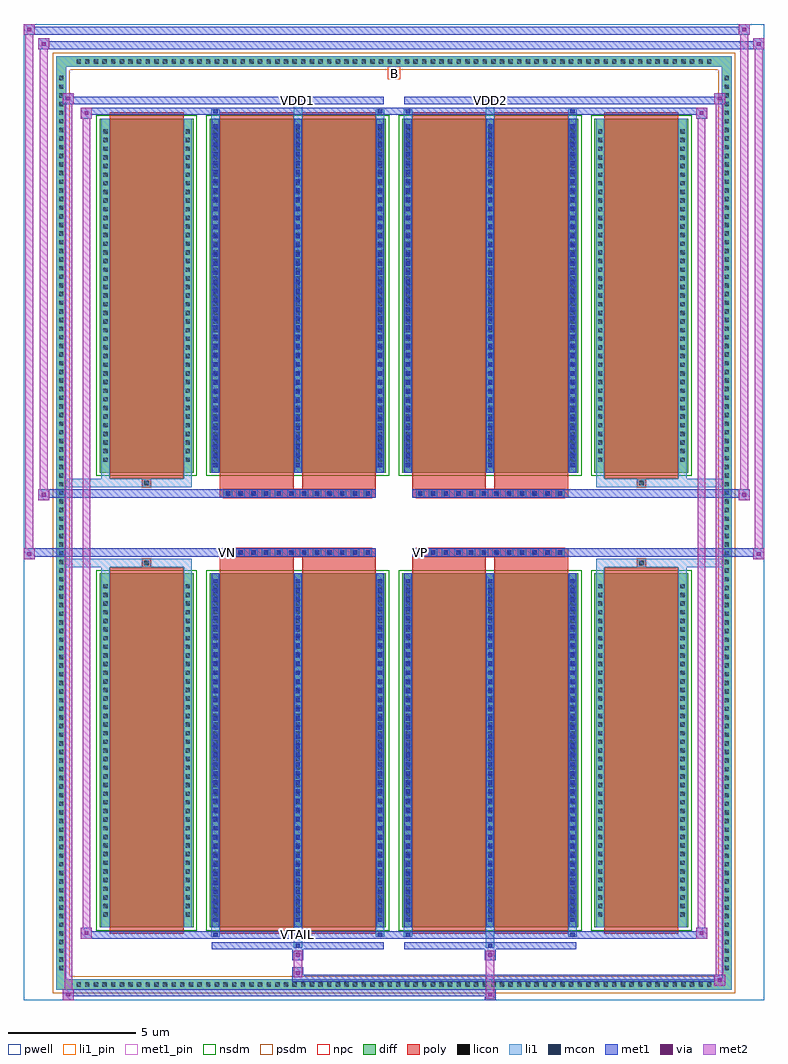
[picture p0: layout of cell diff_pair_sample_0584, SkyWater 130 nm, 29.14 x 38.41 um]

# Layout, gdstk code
import gdstk
lib = gdstk.Library(unit=1e-6, precision=5e-09)
def R(c, l, rs):  # rectangles x0, y0, x1, y1
    for r in rs: c.add(gdstk.rectangle(r[:2], r[2:], *l))
def A(c, l, x, y, w, h, nx, ny, dx, dy):  # array of equal rectangles
    R(c, l, [(x+i*dx, y+j*dy, x+i*dx+w, y+j*dy+h) for i in range(nx) for j in range(ny)])
def P(c, l, *ps):  # polygons
    for p in ps: c.add(gdstk.Polygon(p, *l))
pwell = (64, 44)
diff = (65, 20)
poly = (66, 20)
licon = (66, 44)
li1_pin = (67, 16)
li1 = (67, 20)
mcon = (67, 44)
met1_pin = (68, 16)
met1 = (68, 20)
via = (68, 44)
met2 = (69, 20)
nsdm = (93, 44)
psdm = (94, 20)
npc = (95, 20)

diff_pair_sample_0584 = lib.new_cell('diff_pair_sample_0584')
R(diff_pair_sample_0584, pwell, [(-14.57,-18.77,14.57,19.64), (-11.89,-16.96,-0.01,-0.8), (0.01,-16.96,11.89,-0.8), (-11.89,0.8,-0.01,16.96), (0.01,0.8,11.89,16.96)])
A(diff_pair_sample_0584, diff, -12.615, -18.37, 0.41, 0.41, 74, 2, 0.34, 36.33)
A(diff_pair_sample_0584, diff, -13.3, -17.715, 0.41, 0.41, 1, 104, 0, 0.34)
A(diff_pair_sample_0584, diff, 12.89, -17.715, 0.41, 0.41, 1, 104, 0, 0.34)
R(diff_pair_sample_0584, diff, [(-12.615,-18.37,12.615,-17.96), (-13.3,-17.715,-12.89,17.715), (12.89,-17.715,13.3,17.715), (-11.58,-15.915,-7.89,-1.985), (-7.25,-15.915,-0.32,-1.985), (0.32,-15.915,7.25,-1.985), (7.89,-15.915,11.58,-1.985), (-11.58,1.985,-7.89,15.915), (-7.25,1.985,-0.32,15.915), (0.32,1.985,7.25,15.915), (7.89,1.985,11.58,15.915), (-12.615,17.96,12.615,18.37)])
P(diff_pair_sample_0584, diff, [(13.3,18.37),(-13.3,18.37),(-13.3,-17.96),(-12.89,-17.96),(-12.89,17.96),(12.89,17.96),(12.89,-17.96),(-12.89,-17.96),(-13.3,-17.96),(-13.3,-18.37),(13.3,-18.37)])
A(diff_pair_sample_0584, poly, -6.7, -1.33, 0.33, 0.33, 12, 2, 0.5, 2.33)
A(diff_pair_sample_0584, poly, 0.87, -1.33, 0.33, 0.33, 12, 2, 0.5, 2.33)
R(diff_pair_sample_0584, poly, [(-11.19,-16.165,-8.28,-1.735), (-6.86,-16.165,-3.95,-1.735), (-3.62,-16.165,-0.71,-1.735), (0.71,-16.165,3.62,-1.735), (3.95,-16.165,6.86,-1.735), (8.28,-16.165,11.19,-1.735), (-9.9,-1.735,-9.57,-1.405), (-9.9,-1.735,-9.57,-1.405), (-6.86,-1.735,-3.95,-1.33), (-3.62,-1.735,-0.71,-1.33), (0.71,-1.735,3.62,-1.33), (3.95,-1.735,6.86,-1.33), (9.57,-1.735,9.9,-1.405), (9.57,-1.735,9.9,-1.405), (-6.86,-1.33,-0.71,-1), (0.71,-1.33,6.86,-1), (-6.86,1,-0.71,1.33), (0.71,1,6.86,1.33), (-6.86,1.33,-3.95,1.735), (-3.62,1.33,-0.71,1.735), (0.71,1.33,3.62,1.735), (3.95,1.33,6.86,1.735), (-9.9,1.405,-9.57,1.735), (-9.9,1.405,-9.57,1.735), (9.57,1.405,9.9,1.735), (9.57,1.405,9.9,1.735), (-11.19,1.735,-8.28,16.165), (-6.86,1.735,-3.95,16.165), (-3.62,1.735,-0.71,16.165), (0.71,1.735,3.62,16.165), (3.95,1.735,6.86,16.165), (8.28,1.735,11.19,16.165)])
A(diff_pair_sample_0584, licon, -12.495, -18.25, 0.17, 0.17, 74, 2, 0.34, 36.33)
A(diff_pair_sample_0584, licon, -13.18, -17.595, 0.17, 0.17, 1, 104, 0, 0.34)
A(diff_pair_sample_0584, licon, 13.01, -17.595, 0.17, 0.17, 1, 104, 0, 0.34)
A(diff_pair_sample_0584, licon, -11.44, -15.495, 0.17, 0.17, 1, 39, 0, 0.34)
A(diff_pair_sample_0584, licon, -8.2, -15.495, 0.17, 0.17, 1, 39, 0, 0.34)
A(diff_pair_sample_0584, licon, -7.11, -15.495, 0.17, 0.17, 3, 39, 3.24, 0.34)
A(diff_pair_sample_0584, licon, 0.46, -15.495, 0.17, 0.17, 3, 39, 3.24, 0.34)
A(diff_pair_sample_0584, licon, 8.03, -15.495, 0.17, 0.17, 1, 39, 0, 0.34)
A(diff_pair_sample_0584, licon, 11.27, -15.495, 0.17, 0.17, 1, 39, 0, 0.34)
A(diff_pair_sample_0584, licon, -6.62, -1.25, 0.17, 0.17, 12, 2, 0.5, 2.33)
A(diff_pair_sample_0584, licon, 0.95, -1.25, 0.17, 0.17, 12, 2, 0.5, 2.33)
A(diff_pair_sample_0584, licon, -11.44, 2.405, 0.17, 0.17, 1, 39, 0, 0.34)
A(diff_pair_sample_0584, licon, -8.2, 2.405, 0.17, 0.17, 1, 39, 0, 0.34)
A(diff_pair_sample_0584, licon, -7.11, 2.405, 0.17, 0.17, 3, 39, 3.24, 0.34)
A(diff_pair_sample_0584, licon, 0.46, 2.405, 0.17, 0.17, 3, 39, 3.24, 0.34)
A(diff_pair_sample_0584, licon, 8.03, 2.405, 0.17, 0.17, 1, 39, 0, 0.34)
A(diff_pair_sample_0584, licon, 11.27, 2.405, 0.17, 0.17, 1, 39, 0, 0.34)
R(diff_pair_sample_0584, licon, [(-9.82,-1.655,-9.65,-1.485), (9.65,-1.655,9.82,-1.485), (-9.82,1.485,-9.65,1.655), (9.65,1.485,9.82,1.655)])
R(diff_pair_sample_0584, li1_pin, [(-0.25,17.46,0.25,17.96)])
A(diff_pair_sample_0584, li1, -12.575, -18.33, 0.33, 0.33, 74, 2, 0.34, 36.33)
A(diff_pair_sample_0584, li1, -13.26, -17.675, 0.33, 0.33, 1, 104, 0, 0.34)
A(diff_pair_sample_0584, li1, 12.93, -17.675, 0.33, 0.33, 1, 104, 0, 0.34)
A(diff_pair_sample_0584, li1, -7.19, -15.915, 0.33, 13.93, 3, 2, 3.24, 17.9)
A(diff_pair_sample_0584, li1, 0.38, -15.915, 0.33, 13.93, 3, 2, 3.24, 17.9)
A(diff_pair_sample_0584, li1, -7.11, -15.695, 0.17, 0.17, 3, 38, 3.24, 0.36)
A(diff_pair_sample_0584, li1, -7.11, -15.695, 0.17, 13.49, 3, 2, 3.24, 17.9)
A(diff_pair_sample_0584, li1, 0.46, -15.695, 0.17, 0.17, 3, 38, 3.24, 0.36)
A(diff_pair_sample_0584, li1, 0.46, -15.695, 0.17, 13.49, 3, 2, 3.24, 17.9)
A(diff_pair_sample_0584, li1, -11.52, -15.575, 0.33, 0.33, 1, 39, 0, 0.34)
A(diff_pair_sample_0584, li1, -8.28, -15.575, 0.33, 0.33, 1, 39, 0, 0.34)
A(diff_pair_sample_0584, li1, -7.19, -15.575, 0.33, 0.33, 3, 39, 3.24, 0.34)
A(diff_pair_sample_0584, li1, 0.38, -15.575, 0.33, 0.33, 3, 39, 3.24, 0.34)
A(diff_pair_sample_0584, li1, 7.95, -15.575, 0.33, 0.33, 1, 39, 0, 0.34)
A(diff_pair_sample_0584, li1, 11.19, -15.575, 0.33, 0.33, 1, 39, 0, 0.34)
A(diff_pair_sample_0584, li1, -6.7, -1.33, 0.33, 0.33, 12, 2, 0.5, 2.33)
A(diff_pair_sample_0584, li1, 0.87, -1.33, 0.33, 0.33, 12, 2, 0.5, 2.33)
A(diff_pair_sample_0584, li1, -7.11, 2.205, 0.17, 0.17, 3, 38, 3.24, 0.36)
A(diff_pair_sample_0584, li1, 0.46, 2.205, 0.17, 0.17, 3, 38, 3.24, 0.36)
A(diff_pair_sample_0584, li1, -11.52, 2.325, 0.33, 0.33, 1, 39, 0, 0.34)
A(diff_pair_sample_0584, li1, -8.28, 2.325, 0.33, 0.33, 1, 39, 0, 0.34)
A(diff_pair_sample_0584, li1, -7.19, 2.325, 0.33, 0.33, 3, 39, 3.24, 0.34)
A(diff_pair_sample_0584, li1, 0.38, 2.325, 0.33, 0.33, 3, 39, 3.24, 0.34)
A(diff_pair_sample_0584, li1, 7.95, 2.325, 0.33, 0.33, 1, 39, 0, 0.34)
A(diff_pair_sample_0584, li1, 11.19, 2.325, 0.33, 0.33, 1, 39, 0, 0.34)
R(diff_pair_sample_0584, li1, [(-13.3,-18.37,-12.89,-17.96), (-13.3,-18.37,-12.89,-17.96), (-12.89,-18.37,12.89,-17.96), (12.89,-18.37,13.3,-17.96), (12.89,-18.37,13.3,-17.96), (-13.3,-17.96,-12.89,17.96), (12.89,-17.96,13.3,17.96), (-3.95,-16.72,-3.62,-15.915), (-3.87,-16.72,-3.7,-16.55), (3.62,-16.72,3.95,-15.915), (3.7,-16.72,3.87,-16.55), (-7.19,-16.29,-6.86,-15.915), (-7.11,-16.29,-6.94,-16.12), (-0.71,-16.29,-0.38,-15.915), (-0.63,-16.29,-0.46,-16.12), (0.38,-16.29,0.71,-15.915), (0.46,-16.29,0.63,-16.12), (6.86,-16.29,7.19,-15.915), (6.94,-16.29,7.11,-16.12), (-11.52,-15.915,-11.19,-1.985), (-8.28,-15.915,-7.95,-1.985), (7.95,-15.915,8.28,-1.985), (11.19,-15.915,11.52,-1.985), (-11.52,-1.985,-11.19,-1.405), (-8.28,-1.985,-7.95,-1.405), (7.95,-1.985,8.28,-1.405), (11.19,-1.985,11.52,-1.405), (-13.3,-1.735,-9.9,-1.405), (-11.52,-1.735,-9.9,-1.405), (-9.9,-1.735,-9.57,-1.405), (-9.57,-1.735,-7.95,-1.405), (7.95,-1.735,9.57,-1.405), (9.57,-1.735,9.9,-1.405), (9.57,-1.735,13.3,-1.405), (9.9,-1.735,11.52,-1.405), (-13.3,1.405,-9.9,1.735), (-11.52,1.405,-9.9,1.735), (-11.52,1.405,-11.19,1.985), (-9.9,1.405,-9.57,1.735), (-9.57,1.405,-7.95,1.735), (-8.28,1.405,-7.95,1.985), (7.95,1.405,9.57,1.735), (7.95,1.405,8.28,1.985), (9.57,1.405,9.9,1.735), (9.57,1.405,13.3,1.735), (9.9,1.405,11.52,1.735), (11.19,1.405,11.52,1.985), (-11.52,1.985,-11.19,15.915), (-8.28,1.985,-7.95,15.915), (7.95,1.985,8.28,15.915), (11.19,1.985,11.52,15.915), (-7.19,15.915,-6.86,16.29), (-3.95,15.915,-3.62,16.72), (-0.71,15.915,-0.38,16.29), (0.38,15.915,0.71,16.29), (3.62,15.915,3.95,16.72), (6.86,15.915,7.19,16.29), (-7.11,16.12,-6.94,16.29), (-0.63,16.12,-0.46,16.29), (0.46,16.12,0.63,16.29), (6.94,16.12,7.11,16.29), (-3.87,16.55,-3.7,16.72), (3.7,16.55,3.87,16.72), (-13.3,17.96,-12.89,18.37), (-13.3,17.96,-12.89,18.37), (-12.89,17.96,12.89,18.37), (12.89,17.96,13.3,18.37), (12.89,17.96,13.3,18.37)])
A(diff_pair_sample_0584, mcon, -7.11, -15.695, 0.17, 0.17, 3, 38, 3.24, 0.36)
A(diff_pair_sample_0584, mcon, 0.46, -15.695, 0.17, 0.17, 3, 38, 3.24, 0.36)
A(diff_pair_sample_0584, mcon, -6.62, -1.25, 0.17, 0.17, 12, 2, 0.5, 2.33)
A(diff_pair_sample_0584, mcon, 0.95, -1.25, 0.17, 0.17, 12, 2, 0.5, 2.33)
A(diff_pair_sample_0584, mcon, -7.11, 2.205, 0.17, 0.17, 3, 38, 3.24, 0.36)
A(diff_pair_sample_0584, mcon, 0.46, 2.205, 0.17, 0.17, 3, 38, 3.24, 0.36)
R(diff_pair_sample_0584, mcon, [(-3.87,-16.72,-3.7,-16.55), (3.7,-16.72,3.87,-16.55), (-7.11,-16.29,-6.94,-16.12), (-0.63,-16.29,-0.46,-16.12), (0.46,-16.29,0.63,-16.12), (6.94,-16.29,7.11,-16.12), (-7.11,16.12,-6.94,16.29), (-0.63,16.12,-0.46,16.29), (0.46,16.12,0.63,16.29), (6.94,16.12,7.11,16.29), (-3.87,16.55,-3.7,16.72), (3.7,16.55,3.87,16.72)])
R(diff_pair_sample_0584, met1_pin, [(-3.92,-16.33,-3.65,-16.06), (-6.67,-1.29,-6.4,-1.02), (0.9,-1.29,1.17,-1.02), (-3.92,16.51,-3.65,16.78), (3.65,16.51,3.92,16.78)])
A(diff_pair_sample_0584, met1, -7.17, -15.915, 0.29, 13.93, 3, 2, 3.24, 17.9)
A(diff_pair_sample_0584, met1, 0.4, -15.915, 0.29, 13.93, 3, 2, 3.24, 17.9)
A(diff_pair_sample_0584, met1, -7.17, -15.755, 0.29, 0.29, 3, 38, 3.24, 0.36)
A(diff_pair_sample_0584, met1, 0.4, -15.755, 0.29, 0.29, 3, 38, 3.24, 0.36)
A(diff_pair_sample_0584, met1, -6.68, -1.31, 0.29, 0.29, 12, 2, 0.5, 2.33)
A(diff_pair_sample_0584, met1, 0.89, -1.31, 0.29, 0.29, 12, 2, 0.5, 2.33)
A(diff_pair_sample_0584, met1, -7.17, 2.145, 0.29, 0.29, 3, 38, 3.24, 0.36)
A(diff_pair_sample_0584, met1, 0.4, 2.145, 0.29, 0.29, 3, 38, 3.24, 0.36)
R(diff_pair_sample_0584, met1, [(-13.03,-18.77,-12.6,-18.34), (3.57,-18.77,4,-18.34), (-13.03,-18.63,4,-18.34), (12.6,-18.2,13.03,-17.77), (-4,-18.06,13.03,-17.77), (-4,-17.92,-3.57,-17.49), (-4,-17.21,-3.57,-16.78), (3.57,-17.21,4,-16.78), (-7.17,-16.78,-0.4,-16.49), (-3.93,-16.78,-3.64,-16.49), (0.4,-16.78,7.17,-16.49), (3.64,-16.78,3.93,-16.49), (-12.32,-16.35,-11.89,-15.92), (-12.32,-16.35,-7.17,-16.06), (-7.17,-16.35,-6.88,-16.06), (-7.17,-16.35,-0.4,-16.06), (-0.69,-16.35,-0.4,-16.06), (-0.4,-16.35,0.4,-16.06), (0.4,-16.35,0.69,-16.06), (0.4,-16.35,7.17,-16.06), (6.88,-16.35,7.17,-16.06), (7.17,-16.35,12.32,-16.06), (11.89,-16.35,12.32,-15.92), (-14.57,-1.43,-14.14,-1), (14.14,-1.43,14.57,-1), (-14.57,-1.33,-0.71,-1), (-6.86,-1.33,-0.71,-1), (0.71,-1.33,6.86,-1), (0.71,-1.33,14.57,-1), (-14,0.9,-13.57,1.33), (13.57,0.9,14,1.33), (-14,1,-6.86,1.33), (-6.86,1,-0.71,1.33), (0.71,1,6.86,1.33), (6.86,1,14,1.33), (-12.32,15.92,-11.89,16.35), (11.89,15.92,12.32,16.35), (-12.32,16.06,-7.17,16.35), (-7.17,16.06,-6.88,16.35), (-7.17,16.06,-0.4,16.35), (-0.69,16.06,-0.4,16.35), (-0.4,16.06,0.4,16.35), (0.4,16.06,0.69,16.35), (0.4,16.06,7.17,16.35), (6.88,16.06,7.17,16.35), (7.17,16.06,12.32,16.35), (-13.03,16.49,-12.6,16.92), (-13.03,16.49,-7.17,16.78), (-7.17,16.49,-0.4,16.78), (-3.93,16.49,-3.64,16.78), (0.4,16.49,7.17,16.78), (3.64,16.49,3.93,16.78), (7.17,16.49,13.03,16.78), (12.6,16.49,13.03,16.92), (-14,18.64,-13.57,19.07), (-14,18.64,-11.89,18.97), (-11.89,18.64,11.89,18.97), (11.89,18.64,14.57,18.97), (14.14,18.64,14.57,19.07), (-14.57,19.21,-14.14,19.64), (-14.57,19.21,-11.89,19.54), (-11.89,19.21,11.89,19.54), (11.89,19.21,14,19.54), (13.57,19.21,14,19.64)])
R(diff_pair_sample_0584, via, [(-12.89,-18.63,-12.74,-18.48), (3.71,-18.63,3.86,-18.48), (12.74,-18.06,12.89,-17.91), (-3.86,-17.78,-3.71,-17.63), (-3.86,-17.07,-3.71,-16.92), (3.71,-17.07,3.86,-16.92), (-12.18,-16.21,-12.03,-16.06), (12.03,-16.21,12.18,-16.06), (-14.43,-1.29,-14.28,-1.14), (14.28,-1.29,14.43,-1.14), (-13.86,1.04,-13.71,1.19), (13.71,1.04,13.86,1.19), (-12.18,16.06,-12.03,16.21), (12.03,16.06,12.18,16.21), (-12.89,16.63,-12.74,16.78), (12.74,16.63,12.89,16.78), (-13.86,18.78,-13.71,18.93), (14.28,18.78,14.43,18.93), (-14.43,19.35,-14.28,19.5), (13.71,19.35,13.86,19.5)])
R(diff_pair_sample_0584, met2, [(-13.03,-18.77,-12.6,-18.34), (-12.96,-18.77,-12.67,16.92), (-12.67,-18.77,-12.6,-18.34), (-12.98,-18.72,-12.65,-18.39), (3.62,-18.72,3.95,-18.39), (3.62,-18.39,3.95,-17.16), (12.6,-18.2,13.03,-17.77), (12.67,-18.2,12.96,16.92), (12.96,-18.2,13.03,-17.77), (12.65,-18.15,12.98,-17.82), (-3.95,-17.87,-3.62,-17.54), (-3.95,-17.54,-3.62,-17.16), (-3.95,-17.16,-3.62,-16.83), (3.62,-17.16,3.95,-16.83), (-12.32,-16.35,-11.89,-15.92), (-12.25,-16.35,-11.96,16.35), (-11.96,-16.35,-11.89,-15.92), (11.89,-16.35,12.32,-15.92), (11.96,-16.35,12.25,16.35), (12.25,-16.35,12.32,-15.92), (-12.27,-16.3,-11.94,-15.97), (11.94,-16.3,12.27,-15.97), (-14.57,-1.43,-14.14,-1), (-14.52,-1.43,-14.19,19.64), (-14.19,-1.43,-14.14,-1), (14.14,-1.43,14.57,-1), (14.19,-1.43,14.52,19.07), (14.52,-1.43,14.57,-1), (-14.52,-1.38,-14.19,-1.05), (14.19,-1.38,14.52,-1.05), (-14,0.9,-13.57,1.33), (-13.95,0.9,-13.62,19.07), (-13.62,0.9,-13.57,1.33), (13.57,0.9,14,1.33), (13.62,0.9,13.95,19.64), (13.95,0.9,14,1.33), (-13.95,0.95,-13.62,1.28), (13.62,0.95,13.95,1.28), (-12.32,15.92,-11.89,16.35), (-11.96,15.92,-11.89,16.35), (11.89,15.92,12.32,16.35), (12.25,15.92,12.32,16.35), (-12.27,15.97,-11.94,16.3), (11.94,15.97,12.27,16.3), (-13.03,16.49,-12.6,16.92), (-12.67,16.49,-12.6,16.92), (12.6,16.49,13.03,16.92), (12.96,16.49,13.03,16.92), (-12.98,16.54,-12.65,16.87), (12.65,16.54,12.98,16.87), (-14,18.64,-13.57,19.07), (-13.62,18.64,-13.57,19.07), (14.14,18.64,14.57,19.07), (14.52,18.64,14.57,19.07), (-13.95,18.69,-13.62,19.02), (14.19,18.69,14.52,19.02), (-14.57,19.21,-14.14,19.64), (-14.19,19.21,-14.14,19.64), (13.57,19.21,14,19.64), (13.95,19.21,14,19.64), (-14.52,19.26,-14.19,19.59), (13.62,19.26,13.95,19.59)])
R(diff_pair_sample_0584, nsdm, [(-11.71,-16.045,-7.76,-1.855), (-7.38,-16.045,-0.19,-1.855), (0.19,-16.045,7.38,-1.855), (7.76,-16.045,11.71,-1.855), (-11.71,1.855,-7.76,16.045), (-7.38,1.855,-0.19,16.045), (0.19,1.855,7.38,16.045), (7.76,1.855,11.71,16.045)])
P(diff_pair_sample_0584, psdm, [(13.43,18.5),(-13.43,18.5),(-13.43,-17.83),(-12.76,-17.83),(-12.76,17.83),(12.76,17.83),(12.76,-17.83),(-12.76,-17.83),(-13.43,-17.83),(-13.43,-18.5),(13.43,-18.5)])
A(diff_pair_sample_0584, npc, -6.72, -1.35, 0.37, 0.37, 12, 2, 0.5, 2.33)
A(diff_pair_sample_0584, npc, 0.85, -1.35, 0.37, 0.37, 12, 2, 0.5, 2.33)
R(diff_pair_sample_0584, npc, [(-9.92,-1.755,-9.55,-1.385), (9.55,-1.755,9.92,-1.385), (-6.72,-1.35,-5.85,-0.98), (-6.72,-1.35,-5.85,-0.98), (-6.22,-1.35,-5.35,-0.98), (-6.22,-1.35,-5.35,-0.98), (-5.72,-1.35,-4.85,-0.98), (-5.72,-1.35,-4.85,-0.98), (-5.22,-1.35,-4.35,-0.98), (-5.22,-1.35,-4.35,-0.98), (-4.72,-1.35,-3.85,-0.98), (-4.72,-1.35,-3.85,-0.98), (-4.22,-1.35,-3.35,-0.98), (-4.22,-1.35,-3.35,-0.98), (-3.72,-1.35,-2.85,-0.98), (-3.72,-1.35,-2.85,-0.98), (-3.22,-1.35,-2.35,-0.98), (-3.22,-1.35,-2.35,-0.98), (-2.72,-1.35,-1.85,-0.98), (-2.72,-1.35,-1.85,-0.98), (-2.22,-1.35,-1.35,-0.98), (-2.22,-1.35,-1.35,-0.98), (-1.72,-1.35,-0.85,-0.98), (-1.72,-1.35,-0.85,-0.98), (0.85,-1.35,1.72,-0.98), (0.85,-1.35,1.72,-0.98), (1.35,-1.35,2.22,-0.98), (1.35,-1.35,2.22,-0.98), (1.85,-1.35,2.72,-0.98), (1.85,-1.35,2.72,-0.98), (2.35,-1.35,3.22,-0.98), (2.35,-1.35,3.22,-0.98), (2.85,-1.35,3.72,-0.98), (2.85,-1.35,3.72,-0.98), (3.35,-1.35,4.22,-0.98), (3.35,-1.35,4.22,-0.98), (3.85,-1.35,4.72,-0.98), (3.85,-1.35,4.72,-0.98), (4.35,-1.35,5.22,-0.98), (4.35,-1.35,5.22,-0.98), (4.85,-1.35,5.72,-0.98), (4.85,-1.35,5.72,-0.98), (5.35,-1.35,6.22,-0.98), (5.35,-1.35,6.22,-0.98), (5.85,-1.35,6.72,-0.98), (5.85,-1.35,6.72,-0.98), (-6.72,0.98,-5.85,1.35), (-6.72,0.98,-5.85,1.35), (-6.22,0.98,-5.35,1.35), (-6.22,0.98,-5.35,1.35), (-5.72,0.98,-4.85,1.35), (-5.72,0.98,-4.85,1.35), (-5.22,0.98,-4.35,1.35), (-5.22,0.98,-4.35,1.35), (-4.72,0.98,-3.85,1.35), (-4.72,0.98,-3.85,1.35), (-4.22,0.98,-3.35,1.35), (-4.22,0.98,-3.35,1.35), (-3.72,0.98,-2.85,1.35), (-3.72,0.98,-2.85,1.35), (-3.22,0.98,-2.35,1.35), (-3.22,0.98,-2.35,1.35), (-2.72,0.98,-1.85,1.35), (-2.72,0.98,-1.85,1.35), (-2.22,0.98,-1.35,1.35), (-2.22,0.98,-1.35,1.35), (-1.72,0.98,-0.85,1.35), (-1.72,0.98,-0.85,1.35), (0.85,0.98,1.72,1.35), (0.85,0.98,1.72,1.35), (1.35,0.98,2.22,1.35), (1.35,0.98,2.22,1.35), (1.85,0.98,2.72,1.35), (1.85,0.98,2.72,1.35), (2.35,0.98,3.22,1.35), (2.35,0.98,3.22,1.35), (2.85,0.98,3.72,1.35), (2.85,0.98,3.72,1.35), (3.35,0.98,4.22,1.35), (3.35,0.98,4.22,1.35), (3.85,0.98,4.72,1.35), (3.85,0.98,4.72,1.35), (4.35,0.98,5.22,1.35), (4.35,0.98,5.22,1.35), (4.85,0.98,5.72,1.35), (4.85,0.98,5.72,1.35), (5.35,0.98,6.22,1.35), (5.35,0.98,6.22,1.35), (5.85,0.98,6.72,1.35), (5.85,0.98,6.72,1.35), (-9.92,1.385,-9.55,1.755), (9.55,1.385,9.92,1.755)])
diff_pair_sample_0584.add(gdstk.Label('VTAIL', (-3.785,-16.195), layer=68, texttype=5))
diff_pair_sample_0584.add(gdstk.Label('VN', (-6.535,-1.155), layer=68, texttype=5))
diff_pair_sample_0584.add(gdstk.Label('VP', (1.035,-1.155), layer=68, texttype=5))
diff_pair_sample_0584.add(gdstk.Label('B', (0,17.71), layer=67, texttype=5))
diff_pair_sample_0584.add(gdstk.Label('VDD2', (3.785,16.645), layer=68, texttype=5))
diff_pair_sample_0584.add(gdstk.Label('VDD1', (-3.785,16.645), layer=68, texttype=5))

lib.write_gds('diff_pair_sample_0584.gds')
